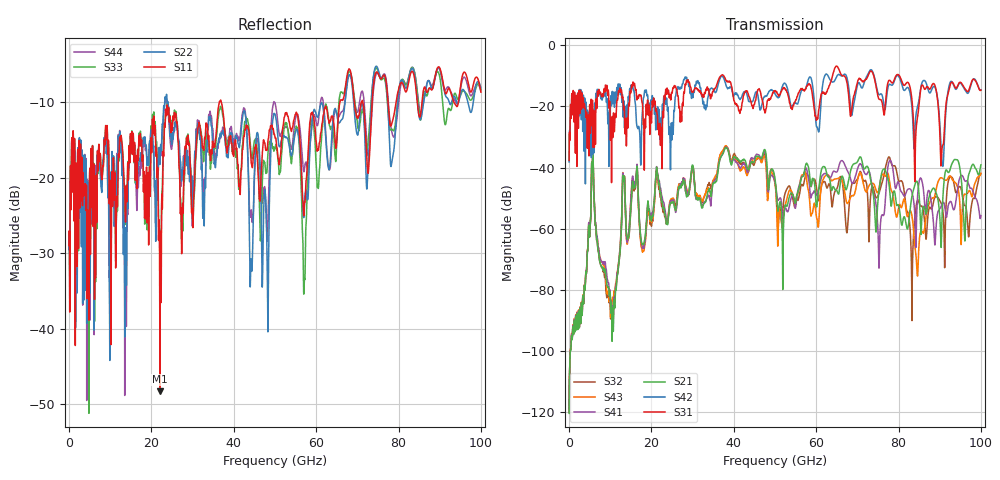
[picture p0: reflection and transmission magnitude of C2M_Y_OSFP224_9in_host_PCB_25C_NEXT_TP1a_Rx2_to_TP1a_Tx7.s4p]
# GHz S RI R 45
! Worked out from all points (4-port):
!   4000 points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, 25 MHz to 100 GHz, reference 45 ohm
!   strongest paths, dB at 25 MHz, 25.02 GHz, 50.02 GHz, 75.03 GHz, 100 GHz:
!     S31: -37.7, -15.6, -14.8, -16.7, -14.7
!     S42: -38.2, -30.2, -15.9, -15.6, -14.6
!     S21: -120.5, -51.3, -43.8, -50.7, -39.1
!     S41: -120.1, -50.7, -44.8, -61.2, -55.7
!     S43: -119.7, -50.1, -45.4, -48.1, -41.8
!     S32: -120.1, -50.5, -44.8, -49.2, -42.0
!   lowest |S11| = -48.3 dB at 22.07 GHz (marker M1), VSWR 1.01, Z = 44.7 - j0.146 ohm
!   |S11| at or under -10 dB: start of sweep to 36.47 GHz; 36.97 GHz to 65.77 GHz (28.8 GHz wide, 56.1 % of centre); 71.32 GHz to 73.58 GHz (2.256 GHz wide, 3.11 % of centre) (the widest 3 of 7)
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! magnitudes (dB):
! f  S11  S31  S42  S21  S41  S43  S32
! 25 MHz  -29.0  -37.7  -38.2  -120.5  -120.1  -119.7  -120.1
! 5.75 GHz  -16.5  -19.2  -35.7  -35.7  -35.5  -35.6  -35.8
! 10.25 GHz  -30.9  -26.8  -18.4  -84.4  -83.9  -83.4  -84.2
! 22.07 GHz  -48.3  -26.3  -29.8  -47.9  -46.5  -47.8  -49.2
! 77.15 GHz  -8.0  -14.4  -16.4  -42.5  -43.4  -42.0  -38.3
! 84.47 GHz  -9.5  -24.8  -20.9  -44.5  -53.4  -73.8  -51.2
! 100 GHz  -8.6  -14.7  -14.6  -39.1  -55.7  -41.8  -42.0
